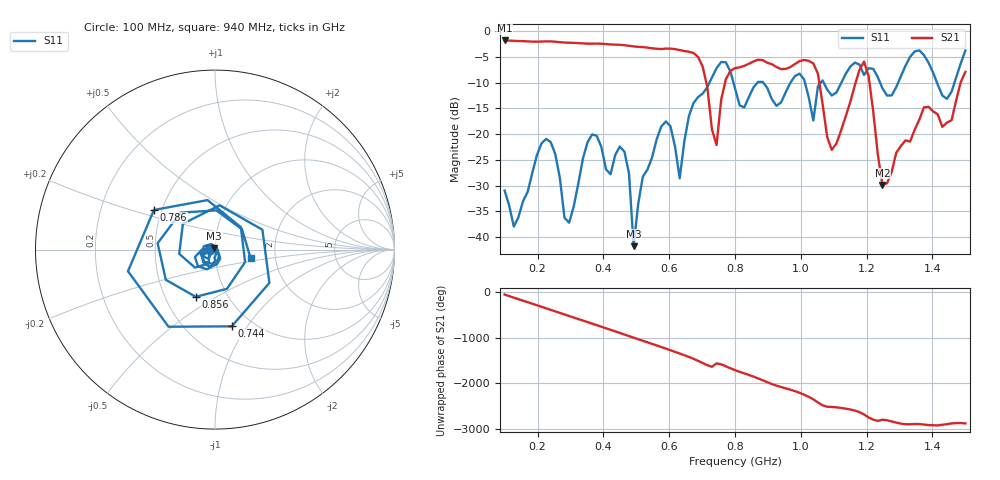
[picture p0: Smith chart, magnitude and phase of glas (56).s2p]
! NanoVNA-App
! Date: 2025-09-25 15:55:54
! Start: 100MHz Stop: 1,5GHz Points: 101
! S-Parameter data: F S11 S21 S12 S22
# Hz S RI R 50
!  Frequency  S11_Real  S11_Imag  S21_Real  S21_Imag  S12_Real  S12_Imag  S22_Real  S22_Imag
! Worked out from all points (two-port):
!   101 points, 100 MHz to 1.5 GHz, reference 50 ohm
!   highest |S21| = -1.80 dB at 100 MHz (marker M1); lowest = -29.9 dB at 1.248 GHz (marker M2)
!   |S21| within 3 dB of the highest: start of sweep to 684.2 MHz
!   lowest |S11| = -41.8 dB at 492 MHz (marker M3), VSWR 1.02, Z = 49.5 + j0.648 ohm
!   |S11| at or under -10 dB: start of sweep to 722.4 MHz; 795.3 MHz to 868.1 MHz (72.8 MHz wide, 8.75 % of centre); 885.8 MHz to 968.5 MHz (82.69 MHz wide, 8.92 % of centre) (the widest 3 of 7)
!   S12 and S22 are empty: the file has one direction only
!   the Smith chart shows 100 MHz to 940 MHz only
!   S11 on the Smith chart (normalised r, x): 100 MHz: 0.95, -0.01; 744 MHz: 0.80, -0.85; 786 MHz: 0.45, +0.24; 856 MHz: 0.71, -0.41; 940 MHz: 1.49, -0.15
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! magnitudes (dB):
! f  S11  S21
! 100 MHz  -31.0  -1.8
! 128 MHz  -38.0  -1.9
! 226 MHz  -20.9  -2.0
! 296 MHz  -37.2  -2.2
! 338 MHz  -24.7  -2.4
! 464 MHz  -23.4  -2.7
! 492 MHz  -41.8  -3.0
! 576 MHz  -18.5  -3.5
! 632 MHz  -28.6  -3.7
! 702 MHz  -12.1  -6.9
! 744 MHz  -7.2  -22.1
! 786 MHz  -7.8  -7.7
! 800 MHz  -11.1  -7.2
! 856 MHz  -10.9  -5.9
! 940 MHz  -13.8  -7.4
! 996 MHz  -8.2  -5.8
! 1.038 GHz  -17.4  -6.3
! 1.094 GHz  -12.5  -23.0
! 1.192 GHz  -8.5  -5.9
! 1.248 GHz  -11.1  -29.9
! 1.276 GHz  -12.5  -27.3
! 1.5 GHz  -3.8  -7.9
